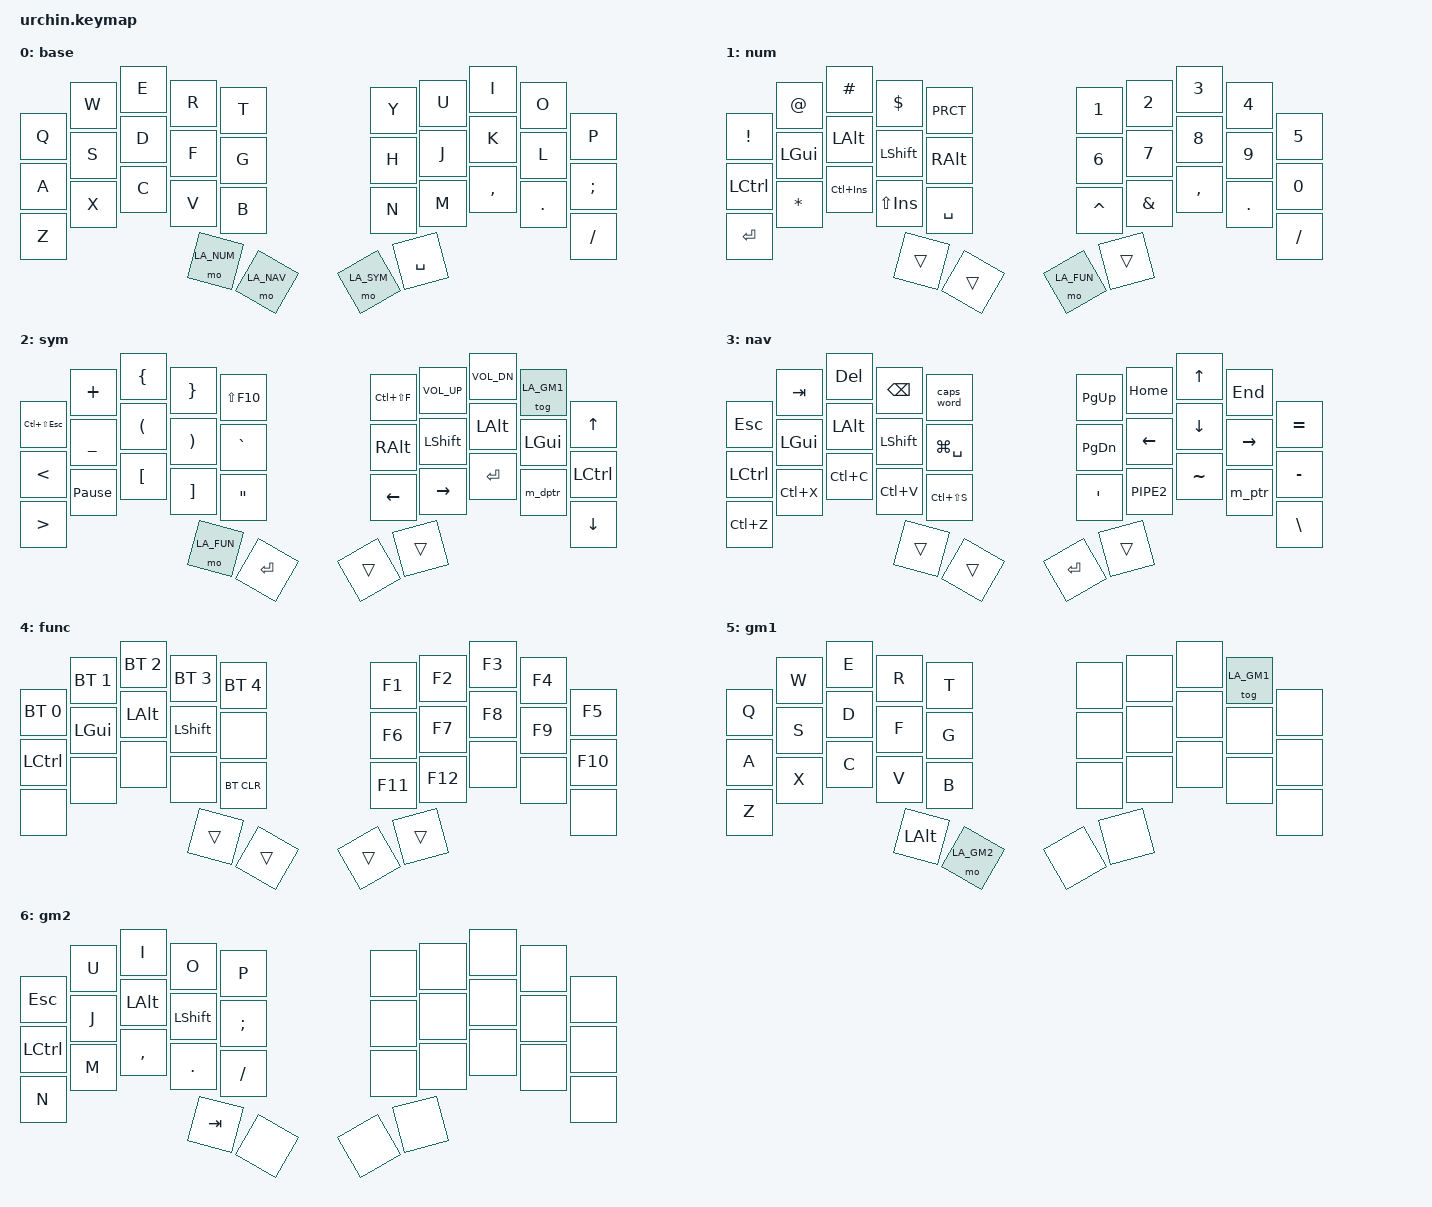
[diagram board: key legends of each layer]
/*
 * Copyright (c) 2020 The ZMK Contributors
 *
 * SPDX-License-Identifier: MIT
 */

#include <behaviors.dtsi>
#include <dt-bindings/zmk/keys.h>
#include <dt-bindings/zmk/bt.h>

#define LA_DEF 0
#define LA_NUM 1
#define LA_SYM 2
#define LA_NAV 3
#define LA_FUN 4
#define LA_GM1 5
#define LA_GM2 6

/ { 
    macros {
	    m_ptr: m_ptr {
	        label = "->";
	        compatible = "zmk,behavior-macro";
	        #binding-cells = <0>;
	        wait-ms = <0>;
            tap-ms = <0>;
	        bindings = <&macro_tap &kp MINUS &kp GT>;
	    };

	    m_dptr: m_dptr {
	        label = "=>";
	        compatible = "zmk,behavior-macro";
	        #binding-cells = <0>;
	        wait-ms = <0>;
            tap-ms = <0>;
	        bindings = <&macro_tap &kp EQUAL &kp GT>;
	    };
	};

    keymap {
        compatible = "zmk,keymap";
        
       	default_layer {
			label = "base";
            bindings = <
                                         &kp Q &kp W &kp E &kp R &kp T   &kp Y &kp U  &kp I &kp O &kp P 
                                         &kp A &kp S &kp D &kp F &kp G   &kp H &kp J &kp K &kp L &kp SEMI
                                         &kp Z &kp X &kp C &kp V &kp B   &kp N &kp M  &kp CMMA &kp DOT &kp SLASH
                                                 &mo LA_NUM &mo LA_NAV   &mo LA_SYM &kp SPC
            >;
        };

       numerical_layer {
			label = "num";
            bindings = <
                            &kp EXCL &kp AT &kp HASH &kp DLLR &kp PRCT   &kp N1 &kp N2 &kp N3 &kp N4 &kp N5
                        &kp LCTRL &kp LGUI &kp LALT &kp LSHFT &kp RALT   &kp N6 &kp N7 &kp N8 &kp N9 &kp N0
                    &kp ENTER &kp STAR &kp LC(INS) &kp LS(INS) &kp SPC   &kp CARET &kp AMPS &kp CMMA &kp DOT &kp SLASH
                                                         &trans &trans   &mo LA_FUN &trans
            >;
        };

        symbols_layer {
			label = "sym";
            bindings = <
                &kp LC(LS(ESC)) &kp PLUS &kp LBRC &kp RBRC &kp LS(F10)   &kp LC(LS(F)) &kp C_VOL_UP  &kp C_VOL_DN &tog LA_GM1 &kp UP 
                          &kp LT &kp UNDER &kp LPAR &kp RPAR &kp GRAVE   &kp RALT &kp LSHFT &kp LALT &kp LGUI &kp LCTRL
                      &kp GT &kp PAUSE_BREAK &kp LBKT &kp RBKT &kp DQT   &kp LEFT &kp RIGHT &kp ENTER &m_dptr &kp DOWN
                                                  &mo LA_FUN &kp ENTER   &trans &trans
            >;
        };

        navigation_layer {
			label = "nav";
            bindings = <
                           &kp ESC &kp TAB &kp DEL &kp BSPC &caps_word   &kp PG_UP &kp HOME &kp UP &kp END &kp EQUAL 
                     &kp LCTRL &kp LGUI &kp LALT &kp LSHFT &kp LG(SPC)   &kp PG_DN &kp LEFT &kp DOWN &kp RIGHT &kp MINUS
                 &kp LC(Z) &kp LC(X) &kp LC(C) &kp LC(V) &kp LC(LS(S))   &kp SQT &kp PIPE2  &kp TILDE &m_ptr &kp BSLH
                                                         &trans &trans   &kp ENTER &trans
            >;
        };

        functional_layer {
			label = "func";
            bindings = <
      &bt BT_SEL 0 &bt BT_SEL 1 &bt BT_SEL 2 &bt BT_SEL 3 &bt BT_SEL 4   &kp F1 &kp F2 &kp F3 &kp F4 &kp F5
                           &kp LCTRL &kp LGUI &kp LALT &kp LSHFT &none   &kp F6 &kp F7 &kp F8 &kp F9 &kp F10
                                    &none &none &none &none &bt BT_CLR   &kp F11 &kp F12 &none &none &none
                                                         &trans &trans   &trans &trans
            >;
        };

        gaming1_layer {
			label = "gm1";
            bindings = <
                                         &kp Q &kp W &kp E &kp R &kp T   &none &none &none &tog LA_GM1 &none
                                         &kp A &kp S &kp D &kp F &kp G   &none &none &none &none &none
                                         &kp Z &kp X &kp C &kp V &kp B   &none &none &none &none &none
                                                   &kp LALT &mo LA_GM2   &none &none
            >;
        };

        gaming2_layer {
			label = "gm2";
            bindings = <
                                       &kp ESC &kp U &kp I &kp O &kp P   &none &none &none &none &none
                           &kp LCTRL &kp J &kp LALT &kp LSHFT &kp SEMI   &none &none &none &none &none
                               &kp N &kp M  &kp CMMA &kp DOT &kp SLASH   &none &none &none &none &none
                                                         &kp TAB &none   &none &none
            >;
        };
    };
};
